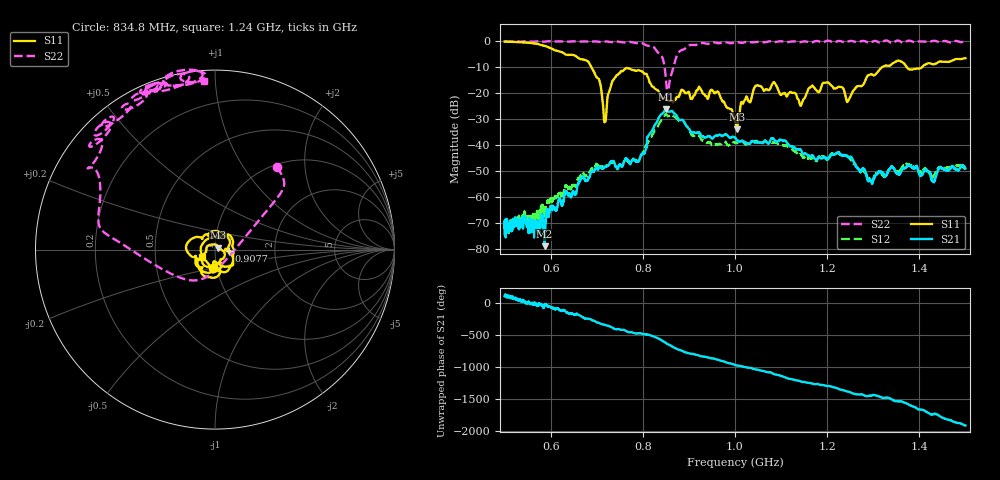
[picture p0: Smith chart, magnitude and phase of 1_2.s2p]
!Agilent Technologies,E8364B,US42250235,A.06.04.32
!Agilent E8364B: A.06.04.32
!Date: Thursday, October 01, 2020 15:56:30
!Correction: S11(Full 2 Port(1,2)) S21(Full 2 Port(1,2)) S12(Full 2 Port(1,2)) S22(Full 2 Port(1,2))
!S2P File: Measurements: S11, S21, S12, S22:
# Hz S  dB  R 50
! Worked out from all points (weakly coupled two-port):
!   2650 points, 500 MHz to 1.5 GHz, reference 50 ohm
!   highest |S21| = -26.38 dB at 849.6 MHz (marker M1); lowest = -79.0 dB at 586.8 MHz (marker M2)
!   lowest |S11| = -34.0 dB at 1.004 GHz (marker M3), VSWR 1.04, Z = 51.7 + j1.08 ohm
!   |S11| at or under -10 dB: 687.9 MHz to 1.32 GHz (632.1 MHz wide, 63 % of centre); 1.373 GHz to 1.406 GHz (33.59 MHz wide, 2.42 % of centre)
!   |S22| runs from -21.5 to 0.2 dB; largest |S21 - S12| = 0.0094
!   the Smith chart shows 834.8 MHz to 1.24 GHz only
!   S11 on the Smith chart (normalised r, x): 834.8 MHz: 0.95, -0.20; 907.7 MHz: 1.17, -0.02; 1.24 GHz: 0.86, -0.07
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5e8  -0.26 -174.9  -70.80 114.0  -72.28 105.2  -0.09 142.3
5.868252e8  -1.87 127.9  -79.01 -36.4  -67.62 -27.7  -0.26 128.7
6.668554e8  -7.06 74.2  -53.08 154.7  -51.61 150.6  -0.19 123.6
7.04228e8  -14.60 29.5  -49.07 53.7  -48.16 46.3  -0.32 121.1
7.174405e8  -31.25 71.9  -48.57 20.0  -48.48 15.4  -0.21 113.3
7.631182e8  -10.52 77.8  -45.31 -73.6  -45.58 -75.3  -0.53 105.1
7.906757e8  -11.26 32.0  -46.40 -111.7  -46.13 -109.4  -0.77 98.9
8.337108e8  -19.25 -89.4  -29.86 169.0  -32.38 164.6  -4.65 56.4
8.348433e8  -19.63 -97.0  -29.46 163.9  -31.93 160.0  -4.82 53.0
8.495659e8  -22.20 160.3  -26.38 99.1  -28.18 97.0  -13.68 26.1
8.778784e8  -21.53 60.2  -30.14 -8.8  -30.66 -12.5  -4.38 172.3
9.07701e8  -22.06 -5.0  -35.32 -73.6  -36.49 -89.8  -1.53 147.3
9.620612e8  -19.41 -122.5  -36.44 -165.7  -39.81 -175.0  -0.83 135.2
1.000189e9  -30.93 84.3  -37.19 111.3  -39.02 118.6  -0.50 120.4
1.003964e9  -33.97 31.5  -38.22 102.5  -39.36 112.4  -0.43 122.3
1.046621e9  -17.16 -116.3  -39.06 39.7  -38.51 33.6  -0.36 113.2
1.142884e9  -24.94 2.2  -41.92 -149.8  -43.70 -147.5  -0.41 106.9
1.166667e9  -17.29 -57.2  -44.36 -177.7  -45.13 -174.5  -0.57 101.4
1.239902e9  -21.27 -150.4  -44.14 63.6  -44.50 63.4  -0.53 93.7
1.293129e9  -12.93 -117.9  -53.29 -10.0  -53.35 -12.9  -0.71 89.7
1.333522e9  -9.59 -145.8  -49.63 -47.9  -49.87 -41.5  -0.15 97.6
1.5e9  -6.62 141.0  -49.10 -119.7  -49.02 -105.9  0.10 71.0
